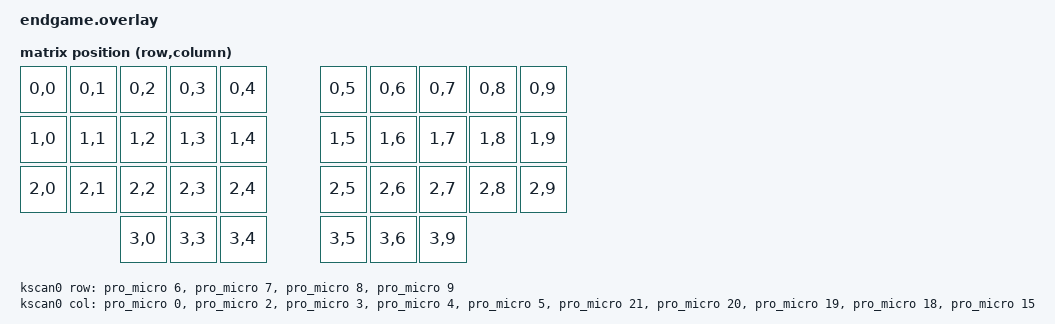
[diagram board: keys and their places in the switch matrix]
#include <dt-bindings/gpio/gpio.h>
#include <dt-bindings/led/led.h>
#include <dt-bindings/zmk/matrix_transform.h>
#include <dt-bindings/zmk/input_transform.h>
#include <input/processors.dtsi>

#define LOWER 1
#define RAISE 2

/* The stock nice!nano v2 ext-power node enables P0.13 at boot and saves its
 * state, and lets a keymap turn it off. The switched rail feeds both the
 * status LED and the Cirque touchpad, so status-pulse owns it instead: on
 * before the touchpad driver starts, off only when ZMK goes to sleep. */
&{/EXT_POWER} {
    status = "disabled";
};

/* P0.09 (D10, touchpad DR) and P0.10 (D16, I2C SCL) are the nRF52840 NFC
 * pads. The nice!nano board does not release them, so do it here. */
&uicr {
    nfct-pins-as-gpios;
};

&gpio0 {
    led_din_low {
        gpio-hog;
        gpios = <6 GPIO_ACTIVE_HIGH>;
        output-low;
        line-name = "endgame-led-din-low";
    };
};

&pinctrl {
    /* &pro_micro_i2c defaults to D2/D3, which are matrix columns here. */
    endgame_i2c0_default: endgame_i2c0_default {
        group1 {
            psels = <NRF_PSEL(TWIM_SDA, 1, 11)>,    /* D14 */
                    <NRF_PSEL(TWIM_SCL, 0, 10)>;    /* D16 */
        };
    };

    endgame_i2c0_sleep: endgame_i2c0_sleep {
        group1 {
            psels = <NRF_PSEL(TWIM_SDA, 1, 11)>,
                    <NRF_PSEL(TWIM_SCL, 0, 10)>;
            low-power-enable;
        };
    };

    endgame_spi3_default: endgame_spi3_default {
        group1 {
            psels = <NRF_PSEL(SPIM_MOSI, 0, 6)>;
        };
    };

    endgame_spi3_sleep: endgame_spi3_sleep {
        group1 {
            psels = <NRF_PSEL(SPIM_MOSI, 0, 6)>;
            low-power-enable;
        };
    };
};

&spi3 {
    compatible = "nordic,nrf-spim";
    status = "okay";
    pinctrl-0 = <&endgame_spi3_default>;
    pinctrl-1 = <&endgame_spi3_sleep>;
    pinctrl-names = "default", "sleep";

    status_pixel: ws2812@0 {
        compatible = "endgame,ws2812-v6-spi";
        reg = <0>;
        spi-max-frequency = <16000000>;
    };
};

/* 4.7 kOhm pull-ups to the switched VCC rail are on the PCB. */
&i2c0 {
    compatible = "nordic,nrf-twim";
    status = "okay";
    clock-frequency = <100000>;    /* 100 kHz */
    pinctrl-0 = <&endgame_i2c0_default>;
    pinctrl-1 = <&endgame_i2c0_sleep>;
    pinctrl-names = "default", "sleep";

    /* TM040040 strapped for I2C (R1 removed). No sleep-mode-enable: the
     * Pinnacle can fail to wake from its own low-power mode on this driver. */
    glidepoint: trackpad@2a {
        compatible = "cirque,pinnacle";
        reg = <0x2a>;
        status = "okay";
        data-mode = "relative";
        sensitivity = "1x";
        data-ready-gpios = <&gpio0 9 GPIO_ACTIVE_HIGH>;    /* D10 */
        primary-tap-enable;
    };
};

/ {
    glidepoint_listener {
        compatible = "zmk,input-listener";
        device = <&glidepoint>;
        input-processors
            = <&zip_xy_transform INPUT_TRANSFORM_Y_INVERT>
            , <&zip_xy_scaler 3 1>
            ;

        /* Holding Raise turns the pad into a scroll surface. */
        scroll {
            layers = <RAISE>;
            input-processors
                = <&zip_xy_scaler 1 20>
                , <&zip_xy_to_scroll_mapper>
                ;
        };
    };

    chosen {
        zmk,kscan = &kscan0;
        zmk,matrix_transform = &default_transform;
        zmk,battery = &vbatt;
    };

    default_transform: keymap_transform_0 {
        compatible = "zmk,matrix-transform";
        columns = <10>;
        rows = <4>;
        map = <
            RC(0, 0) RC(0, 1) RC(0, 2) RC(0, 3) RC(0, 4) RC(0, 5) RC(0, 6) RC(0, 7) RC(0, 8) RC(0, 9)
            RC(1, 0) RC(1, 1) RC(1, 2) RC(1, 3) RC(1, 4) RC(1, 5) RC(1, 6) RC(1, 7) RC(1, 8) RC(1, 9)
            RC(2, 0) RC(2, 1) RC(2, 2) RC(2, 3) RC(2, 4) RC(2, 5) RC(2, 6) RC(2, 7) RC(2, 8) RC(2, 9)
            RC(3, 0) RC(3, 3) RC(3, 4) RC(3, 5) RC(3, 6) RC(3, 9)
        >;
    };

    kscan0: kscan {
        compatible = "zmk,kscan-gpio-matrix";
        diode-direction = "col2row";
        wakeup-source;
        row-gpios =
            <&pro_micro 6 (GPIO_ACTIVE_HIGH | GPIO_PULL_DOWN)>,
            <&pro_micro 7 (GPIO_ACTIVE_HIGH | GPIO_PULL_DOWN)>,
            <&pro_micro 8 (GPIO_ACTIVE_HIGH | GPIO_PULL_DOWN)>,
            <&pro_micro 9 (GPIO_ACTIVE_HIGH | GPIO_PULL_DOWN)>;
        col-gpios =
            <&pro_micro 0 GPIO_ACTIVE_HIGH>,
            <&pro_micro 2 GPIO_ACTIVE_HIGH>,
            <&pro_micro 3 GPIO_ACTIVE_HIGH>,
            <&pro_micro 4 GPIO_ACTIVE_HIGH>,
            <&pro_micro 5 GPIO_ACTIVE_HIGH>,
            <&pro_micro 21 GPIO_ACTIVE_HIGH>,
            <&pro_micro 20 GPIO_ACTIVE_HIGH>,
            <&pro_micro 19 GPIO_ACTIVE_HIGH>,
            <&pro_micro 18 GPIO_ACTIVE_HIGH>,
            <&pro_micro 15 GPIO_ACTIVE_HIGH>;
    };

    behaviors {
        status_pulse: status_pulse {
            compatible = "zmk,behavior-endgame-status-pulse";
            #binding-cells = <0>;
        };
    };
};
